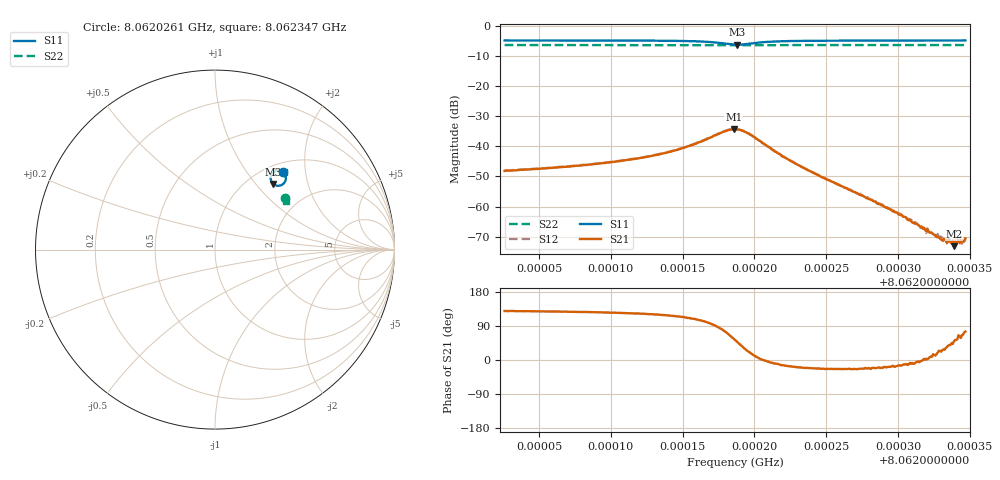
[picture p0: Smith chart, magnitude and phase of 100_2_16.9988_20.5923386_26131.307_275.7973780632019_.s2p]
#  HZ  S  RI  R  50.00
! Rohde & Schwarz Vector Network Analyzer
! Rohde-Schwarz,ZNB20-2Port,1311601062101988,3.16
! Created: UTC 3/20/2024, 10:56:36 PM
! freq[Hz]  re:S11  im:S11  re:S21  im:S21  re:S12  im:S12  re:S22  im:S22
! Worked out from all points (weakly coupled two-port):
!   401 points, 8.0620261 GHz to 8.062347 GHz, reference 50 ohm
!   highest |S21| = -34.27 dB at 8.0621857 GHz (marker M1); lowest = -73.2 dB at 8.0623389 GHz (marker M2)
!   lowest |S11| = -6.2 dB at 8.0621881 GHz (marker M3), VSWR 2.92, Z = 64.4 + j62 ohm
!   |S11| at or under -10 dB: nowhere
!   |S22| runs from -6.4 to -6.3 dB; largest |S21 - S12| = 0.0014
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8.06202609e9  0.3784 0.4336  -0.00247 0.00303  -0.00232 0.00323  0.3876 0.2885
8.06207983e9  0.3842 0.4274  -0.0029 0.00387  -0.00269 0.00411  0.3893 0.2857
8.06211754e9  0.3892 0.4199  -0.00337 0.00523  -0.00311 0.00548  0.3905 0.2835
8.06213358e9  0.3921 0.414  -0.0036 0.0064  -0.00327 0.00671  0.391 0.2824
8.06215203e9  0.3948 0.4017  -0.00368 0.00896  -0.00316 0.00926  0.3916 0.281
8.06216888e9  0.3898 0.3776  -0.00169 0.0137  -0.000771 0.014  0.3915 0.2794
8.06217931e9  0.3652 0.3575  0.00437 0.0172  0.00553 0.0171  0.3905 0.2785
8.06218572e9  0.3354 0.359  0.0109 0.016  0.012 0.0153  0.3893 0.2786
8.06218653e9  0.3317 0.361  0.0116 0.0153  0.0128 0.0148  0.3893 0.2787
8.06218813e9  0.3246 0.3661  0.013 0.0141  0.0141 0.0133  0.3891 0.2791
8.06219615e9  0.3101 0.4014  0.0152 0.006  0.0156 0.00492  0.3893 0.2804
8.06222022e9  0.3451 0.44  0.00652 -0.00163  0.00651 -0.00203  0.3922 0.2803
8.06224027e9  0.3607 0.4398  0.00344 -0.00139  0.00339 -0.00161  0.3936 0.2792
8.06229402e9  0.376 0.4341  0.000874 -0.000284  0.000864 -0.000336  0.3957 0.2762
8.06230926e9  0.3783 0.4327  0.000557 -9.79e-05  0.000594 -0.000132  0.3962 0.2755
8.0623213e9  0.3798 0.4318  0.000378 2.64e-05  0.000393 -6.26e-06  0.3966 0.2749
8.06232932e9  0.3808 0.431  0.000268 0.000118  0.000317 8.72e-05  0.3969 0.2745
8.06233333e9  0.3813 0.4307  0.000236 0.000145  0.000276 0.000127  0.3971 0.274
8.06233894e9  0.3819 0.4303  0.000143 0.000166  0.000179 0.000162  0.3973 0.274
8.06234215e9  0.3822 0.4301  0.000116 0.000251  0.000137 0.000204  0.3973 0.2737
8.06234376e9  0.3824 0.4299  0.000149 0.000238  0.000133 0.000221  0.3975 0.2735
8.06234697e9  0.3828 0.4297  7.62e-05 0.000285  0.00013 0.000272  0.3977 0.2735
